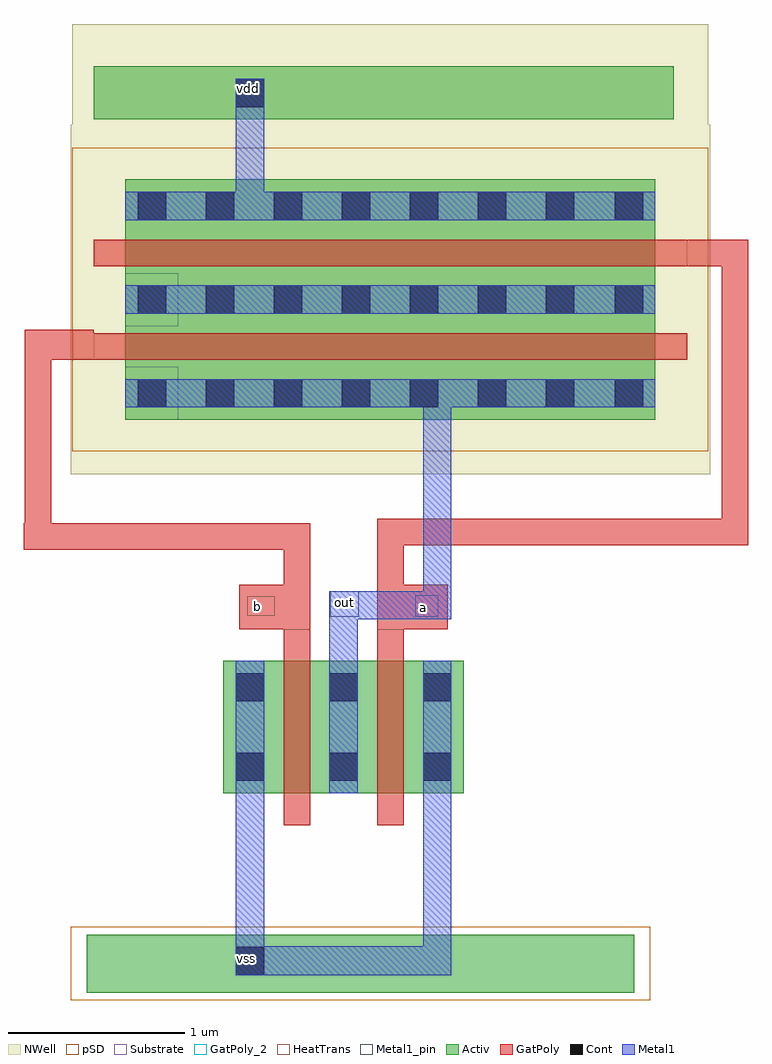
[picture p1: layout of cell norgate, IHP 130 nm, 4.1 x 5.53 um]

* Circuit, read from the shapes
.subckt norgate a b out vdd vss
XM1 out b vss vss sg13_lv_nmos w=0.75u l=0.15u
XM2 vss a out vss sg13_lv_nmos w=0.75u l=0.15u
XM3 n1 b out vdd sg13_lv_pmos w=3u l=0.15u
XM4 vdd a n1 vdd sg13_lv_pmos w=3u l=0.15u
.ends

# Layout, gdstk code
from math import pi, radians
import gdstk
lib = gdstk.Library(unit=1e-6, precision=5e-09)
def R(c, l, rs):  # rectangles x0, y0, x1, y1
    for r in rs: c.add(gdstk.rectangle(r[:2], r[2:], *l))
def A(c, l, x, y, w, h, nx, ny, dx, dy):  # array of equal rectangles
    R(c, l, [(x+i*dx, y+j*dy, x+i*dx+w, y+j*dy+h) for i in range(nx) for j in range(ny)])
Activ = (1, 0)
GatPoly = (5, 0)
GatPoly_2 = (5, 2)
Cont = (6, 0)
Metal1 = (8, 0)
Metal1_pin = (8, 2)
pSD = (14, 0)
NWell = (31, 0)
Substrate = (40, 0)
HeatTrans = (51, 0)

nmos_5 = lib.new_cell('nmos$5')
R(nmos_5, Activ, [(0,0,0.3,0.3), (0,0,0.83,0.75), (0.53,0,0.83,0.3)])
R(nmos_5, GatPoly, [(0.34,-0.18,0.49,0.93)])
R(nmos_5, GatPoly_2, [(0.34,-0.18,0.49,0.93)])
R(nmos_5, Cont, [(0.07,0.07,0.23,0.23), (0.6,0.07,0.76,0.23), (0.07,0.52,0.23,0.68), (0.6,0.52,0.76,0.68)])
R(nmos_5, Metal1, [(0.07,0,0.23,0.75), (0.6,0,0.76,0.75)])
R(nmos_5, Metal1_pin, [(0.07,0,0.23,0.75), (0.6,0,0.76,0.75)])
R(nmos_5, HeatTrans, [(0.34,-0.18,0.49,0.93)])
nmos_5.add(gdstk.Label('nmos', (0.415,0.375), layer=63, texttype=0))
nmos_5.add(gdstk.Label('nmos', (0.415,0.375), layer=51, texttype=0))

pmos_5 = lib.new_cell('pmos$5')
R(pmos_5, Activ, [(0,0,0.3,0.3), (0,0,0.83,3), (0.53,0,0.83,0.3)])
R(pmos_5, GatPoly, [(0.34,-0.18,0.49,3.18), (0.34,-0.18,0.49,3.18)])
A(pmos_5, Cont, 0.07, 0.07, 0.16, 0.16, 1, 7, 0, 0.385)
A(pmos_5, Cont, 0.6, 0.07, 0.16, 0.16, 1, 7, 0, 0.385)
R(pmos_5, Cont, [(0.07,2.77,0.23,2.93), (0.6,2.77,0.76,2.93)])
R(pmos_5, Metal1, [(0.07,0,0.23,3), (0.07,0,0.23,3), (0.6,0,0.76,3), (0.6,0,0.76,3)])
R(pmos_5, pSD, [(-0.18,-0.3,1.01,3.3)])
R(pmos_5, NWell, [(-0.31,-0.31,1.14,3.31)])
R(pmos_5, Substrate, [(0.53,0,0.83,0.3)])
R(pmos_5, HeatTrans, [(0.34,-0.18,0.49,3.18)])
pmos_5.add(gdstk.Label('pmos', (0.415,1.5), layer=63, texttype=0))
pmos_5.add(gdstk.Label('pmos', (0.415,1.5), layer=51, texttype=0))

norgate = lib.new_cell('norgate')
R(norgate, Activ, [(-1.39,-2.62,1.71,-2.29), (-1.35,2.325,1.935,2.625)])
R(norgate, GatPoly, [(-0.525,-0.56,-0.125,-0.31), (-0.275,-0.56,-0.125,-0.11), (0.255,-0.56,0.405,0.065), (0.255,-0.56,0.655,-0.31), (-1.745,-0.11,-0.125,0.04), (0.255,-0.085,2.355,0.065), (2.205,-0.085,2.355,1.645), (-1.74,0.04,-1.59,1.135), (-1.59,0.965,-1.35,1.135), (2.01,1.495,2.355,1.645)])
R(norgate, GatPoly_2, [(0.47,-0.49,0.6,-0.37), (-0.48,-0.485,-0.325,-0.375)])
R(norgate, Cont, [(-0.545,-2.52,-0.385,-2.36), (-0.545,2.395,-0.385,2.555)])
R(norgate, Metal1, [(-0.545,-2.52,-0.385,-0.74), (-0.545,-2.52,0.675,-2.355), (0.515,-2.52,0.675,-0.74), (-0.015,-0.74,0.145,-0.36), (-0.015,-0.505,0.675,-0.345), (0.515,-0.49,0.675,0.695), (-0.545,1.755,-0.385,2.555)])
R(norgate, Metal1_pin, [(-0.545,-2.52,-0.385,-2.355), (-0.01,-0.49,0.15,-0.345), (-0.545,2.395,-0.385,2.555)])
R(norgate, pSD, [(-1.48,-2.66,1.8,-2.245)])
R(norgate, NWell, [(-1.47,2.295,2.13,2.865)])
norgate.add(gdstk.Reference(nmos_5, (0.745,-0.74), rotation=pi))
norgate.add(gdstk.Reference(nmos_5, (-0.615,-1.49)))
norgate.add(gdstk.Reference(pmos_5, (-1.17,1.985), rotation=3*pi/2))
norgate.add(gdstk.Reference(pmos_5, (-1.17,1.455), rotation=3*pi/2))
norgate.add(gdstk.Label('vdd', (-0.475,2.5), layer=8, texttype=2))
norgate.add(gdstk.Label('out', (0.07,-0.41), layer=8, texttype=2))
norgate.add(gdstk.Label('vss', (-0.485,-2.425), layer=8, texttype=2))
norgate.add(gdstk.Label('b', (-0.42,-0.435), layer=5, texttype=2))
norgate.add(gdstk.Label('a', (0.52,-0.44), layer=5, texttype=2))

lib.write_gds('norgate.gds')
